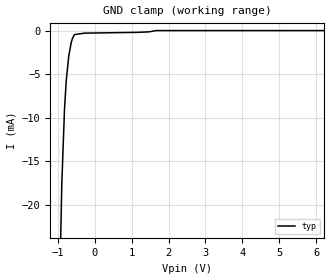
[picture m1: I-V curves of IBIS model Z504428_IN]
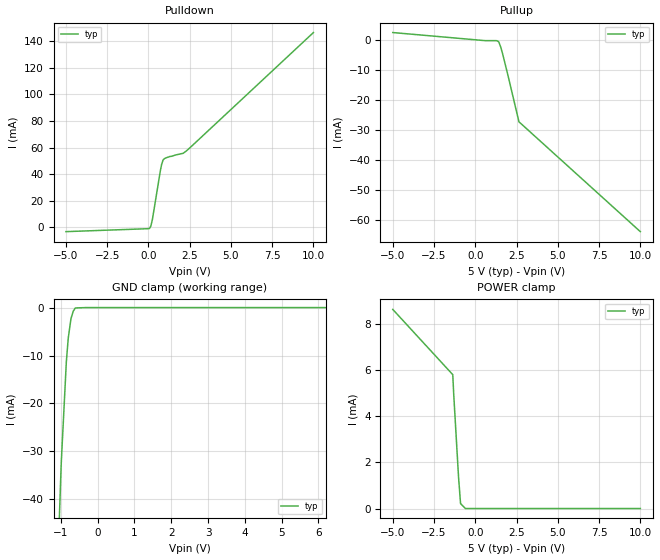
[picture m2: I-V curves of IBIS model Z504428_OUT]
| YOU ARE ONLY AUTHORIZED TO USE THIS SOFTWARE
| ACCORDING TO LICENSOR'S LICENSE RESTRICTIONS.
[IBIS Ver] 3.1
[File Name] sn54ls260j.ibs
[File Rev] 2.0
[Source] Measured and created by ICX Technology
[Date] Friday 7/14/00 9:08:14 AM
[Copyright]
| (C) COPYRIGHT 1993-2000
| MENTOR GRAPHICS CORPORATION
| ICX STANDARD LIBRARY, ICX PROJECT MODELING,
| ICX CUSTOM MODELING, ICX VENDOR MODEL
| ALL RIGHTS RESERVED.
| THE FOLLOWING ARE TRADEMARKS OR SERVICE MARKS OF
| MENTOR GRAPHICS CORPORATION:ICX (R), ICX STANDARD
| LIBRARY(R), ICX PROJECT MODELING(R), ICX CUSTOM
| MODELING(R), qualityIBIS(TM), MODELVIEWER(TM),
| AND MODELEDITOR(TM)
| ALL COPIES OF SOFTWARE, INCLUDING BUT NOT LIMITED TO
| ANY MODIFICATIONS, ENHANCEMENTS OR DERIVATIVE WORKS,
| MUST CONTAIN ALL MENTOR GRAPHICS CORPORATION'S
| NOTICES AND LEGENDS, INCLUDING THOSE EMBEDDED IN
| SOFTWARE AND THOSE AFFIXED TO SOFTWARE MEDIUM
| AND CONTAINER, AS RECEIVED FROM MENTOR GRAPHICS
| CORPORATION.
|  ZAP Model Builder 2.7
[Component] SN54LS260J
[Manufacturer] OnSemiconductor
[Package]
| variable   typ   min   max
R_pkg  .21ohms NA NA
L_pkg  4.543nH NA NA
C_pkg  1.059pF NA NA
[Pin] signal_name  model_name  R_pin  L_pin C_pin
1 A Z504428_IN .22 6.757n 1.432p
2 B Z504428_IN .212 4.757n 1.142p
3 C Z504428_IN .204 3.257n .852p
4 A Z504428_IN .196 2.257n .562p
5 Y Z504428_OUT .204 3.257n .852p
6 Y Z504428_OUT .212 4.757n 1.142p
7 GROUND GND .22 6.757n 1.432p
8 B Z504428_IN .22 6.757n 1.432p
9 C Z504428_IN .212 4.757n 1.142p
10 D Z504428_IN .204 3.257n .852p
11 E Z504428_IN .196 2.257n .562p
12 D Z504428_IN .204 3.257n .852p
13 E Z504428_IN .212 4.757n 1.142p
14 VCC POWER .22 6.757n 1.432p
| Models and submodels in the file (2): Z504428_IN (Input), Z504428_OUT (Output)
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| (C) COPYRIGHT 1993-2000
| MENTOR GRAPHICS CORPORATION
| ICX STANDARD LIBRARY, ICX PROJECT MODELING,
| ICX CUSTOM MODELING, ICX VENDOR MODEL
| ALL RIGHTS RESERVED.
| THE FOLLOWING ARE TRADEMARKS OR SERVICE MARKS OF
| MENTOR GRAPHICS CORPORATION:ICX (R), ICX STANDARD
| LIBRARY(R), ICX PROJECT MODELING(R), ICX CUSTOM
| MODELING(R), qualityIBIS(TM), MODELVIEWER(TM),
| AND MODELEDITOR(TM)
| ALL COPIES OF SOFTWARE, INCLUDING BUT NOT LIMITED TO
| ANY MODIFICATIONS, ENHANCEMENTS OR DERIVATIVE WORKS,
| MUST CONTAIN ALL MENTOR GRAPHICS CORPORATION'S
| NOTICES AND LEGENDS, INCLUDING THOSE EMBEDDED IN
| SOFTWARE AND THOSE AFFIXED TO SOFTWARE MEDIUM
| AND CONTAINER, AS RECEIVED FROM MENTOR GRAPHICS
| CORPORATION.
| Model Application Version 1.89 2/18/99.
[Model] Z504428_IN
Model_type Input
Vinl = 800.0mV
Vinh = 2.000V
C_comp 4.000pF NA NA
| variable typ   min   max
[Voltage Range] 5.000V NA NA
[GND Clamp Reference] 0.000V NA NA
[POWER Clamp Reference] 5.000V NA NA
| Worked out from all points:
|   GND clamp passes 1 mA (typ) near -0.61 V on its own axis
[GND Clamp]
-5V       -891.6mA   NA         NA
-888.7mV  -17.66mA   NA         NA
-815.3mV  -9.05mA    NA         NA
-769.7mV  -5.828mA   NA         NA
-700.8mV  -2.945mA   NA         NA
-634.2mV  -1.394mA   NA         NA
-600.5mV  -903.3uA   NA         NA
-546.7mV  -467.1uA   NA         NA
-273.4mV  -296.4uA   NA         NA
1.172V    -205.8uA   NA         NA
1.666V    -2.634uA   NA         NA
10V       -2.634uA   NA         NA
[POWER Clamp]
-5V       0A         NA         NA
10V       0A         NA         NA
| (C) COPYRIGHT 1993-2000
| MENTOR GRAPHICS CORPORATION
| ICX STANDARD LIBRARY, ICX PROJECT MODELING,
| ICX CUSTOM MODELING, ICX VENDOR MODEL
| ALL RIGHTS RESERVED.
| THE FOLLOWING ARE TRADEMARKS OR SERVICE MARKS OF
| MENTOR GRAPHICS CORPORATION:ICX (R), ICX STANDARD
| LIBRARY(R), ICX PROJECT MODELING(R), ICX CUSTOM
| MODELING(R), qualityIBIS(TM), MODELVIEWER(TM),
| AND MODELEDITOR(TM)
| ALL COPIES OF SOFTWARE, INCLUDING BUT NOT LIMITED TO
| ANY MODIFICATIONS, ENHANCEMENTS OR DERIVATIVE WORKS,
| MUST CONTAIN ALL MENTOR GRAPHICS CORPORATION'S
| NOTICES AND LEGENDS, INCLUDING THOSE EMBEDDED IN
| SOFTWARE AND THOSE AFFIXED TO SOFTWARE MEDIUM
| AND CONTAINER, AS RECEIVED FROM MENTOR GRAPHICS
| CORPORATION.
| Model Application Version 1.89 2/18/99.
[Model] Z504428_OUT
Model_type Output
Vref=5.000V
Rref=2.000kohms
Cref=15.00pF
Vmeas=1.300V
C_comp 8.000pF NA NA
| variable typ   min   max
[Voltage Range] 5.000V NA NA
[POWER Clamp Reference] 5.000V NA NA
[Pullup Reference] 5.000V NA NA
[Pulldown Reference] 0.000V NA NA
[GND Clamp Reference] 0.000V NA NA
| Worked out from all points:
|   slope of the pulldown table from 0 to 0.75 V, typ, clamps not added: 16.6 ohm
|   slope of the pullup table from 0 to 0.75 V, typ, clamps not added: 2.65 kohm
|   GND clamp passes 1 mA (typ) near -0.67 V on its own axis
|   POWER clamp passes 1 mA (typ) near -0.98 V on its own axis
[GND Clamp]
-5V       -1.126A    NA         NA
-1.152V   -68.71mA   NA         NA
-990.9mV  -32.53mA   NA         NA
-851.9mV  -11.33mA   NA         NA
-800.3mV  -6.396mA   NA         NA
-725.8mV  -2.312mA   NA         NA
-664mV    -742.7uA   NA         NA
-605.8mV  -78.56uA   NA         NA
-302.9mV  0A         NA         NA
10V       0A         NA         NA
[Pulldown]
-5V       -3.199mA   NA         NA
68.82mV   -737.3uA   NA         NA
151.4mV   1.11mA     NA         NA
243.7mV   6.098mA    NA         NA
723mV     42.49mA    NA         NA
796.5mV   47.08mA    NA         NA
888.8mV   50.65mA    NA         NA
1.03V     52.08mA    NA         NA
2.104V    55.66mA    NA         NA
2.263V    57.07mA    NA         NA
10V       146.4mA    NA         NA
[Pullup]
-5V       2.6mA      NA         NA
583mV     -109uA     NA         NA
1.26V     -109uA     NA         NA
1.323V    -170.8uA   NA         NA
1.419V    -492.1uA   NA         NA
1.54V     -2.238mA   NA         NA
1.636V    -4.112mA   NA         NA
1.968V    -11.47mA   NA         NA
2.646V    -27.28mA   NA         NA
10V       -64.05mA   NA         NA
[POWER Clamp]
-5V       8.631mA    NA         NA
-1.364V   5.802mA    NA         NA
-1.308V   4.955mA    NA         NA
-1.013V   1.346mA    NA         NA
-893mV    214.7uA    NA         NA
-595.3mV  0A         NA         NA
10V       0A         NA         NA
[Ramp]
| variable typ min max
dV/dt_r 1.897/10.29n NA NA
dV/dt_f 1.897/2.149n NA NA
R_load = 500.0Ohms
